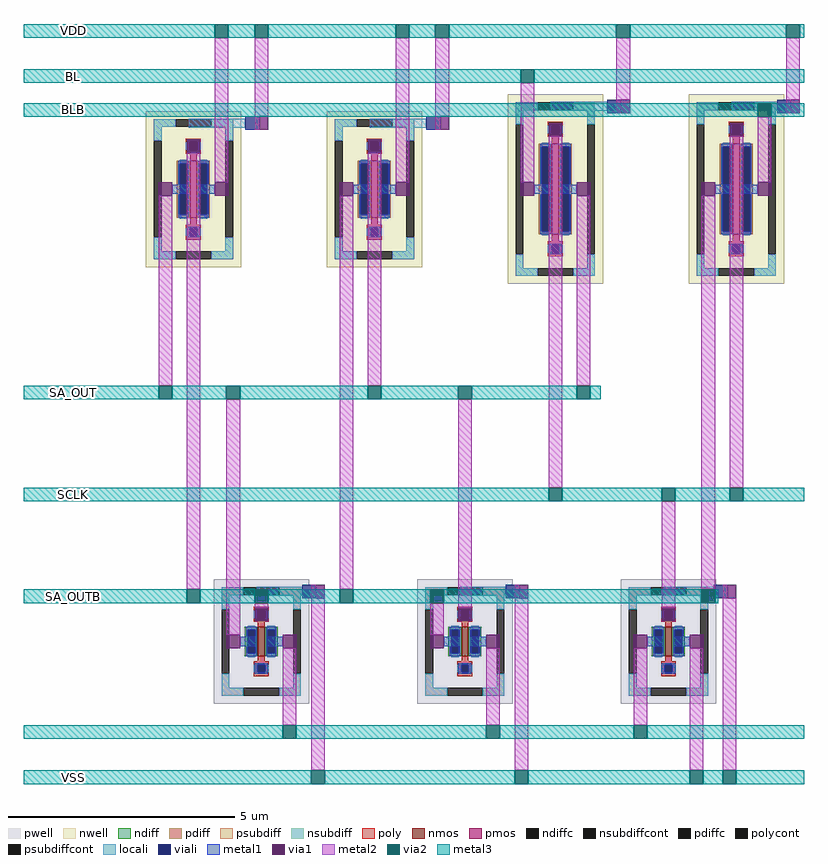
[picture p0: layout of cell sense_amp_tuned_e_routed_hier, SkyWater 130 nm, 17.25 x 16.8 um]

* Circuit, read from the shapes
.subckt sense_amp_tuned_e_routed_hier VDD VSS BL BLB SCLK SA_OUT SA_OUTB
XM1 n1 SA_OUTB SA_OUT VSS sky130_fd_pr__nfet_01v8 w=0.65 l=0.15
XM2 n1 SA_OUT SA_OUTB VSS sky130_fd_pr__nfet_01v8 w=0.65 l=0.15
XM3 VSS SCLK n1 VSS sky130_fd_pr__nfet_01v8 w=0.65 l=0.15
XM4 VDD SA_OUTB SA_OUT VDD sky130_fd_pr__pfet_01v8 w=1.26 l=0.15
XM5 VDD SA_OUT SA_OUTB VDD sky130_fd_pr__pfet_01v8 w=1.26 l=0.15
XM6 SA_OUT SCLK BL VDD sky130_fd_pr__pfet_01v8 w=2 l=0.15
XM7 BLB SCLK SA_OUTB VDD sky130_fd_pr__pfet_01v8 w=2 l=0.15
.ends

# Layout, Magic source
magic
tech sky130A
magscale 1 2
<< locali >>
rect 1880 -654 2130 -614
rect 2680 -654 2880 -614
rect 280 -728 530 -688
rect 1080 -728 1330 -688
rect 580 -2798 780 -2758
rect 1480 -2798 1680 -2758
rect 2380 -2798 2600 -2758
<< viali >>
rect 2130 -664 2190 -604
rect 2880 -664 2940 -604
rect 530 -738 590 -678
rect 1330 -738 1390 -678
rect 780 -2808 840 -2748
rect 1680 -2808 1740 -2748
rect 2600 -2808 2660 -2748
<< metal1 >>
rect 206 -1020 276 -980
rect 324 -1020 394 -980
rect 1006 -1020 1076 -980
rect 1124 -1020 1194 -980
rect 1806 -1020 1876 -980
rect 1924 -1020 1994 -980
rect 2606 -1020 2676 -980
rect 2724 -1020 2794 -980
rect 506 -3020 576 -2980
rect 624 -3020 694 -2980
rect 1406 -3020 1476 -2980
rect 1524 -3020 1594 -2980
rect 2306 -3020 2376 -2980
rect 2424 -3020 2494 -2980
<< via1 >>
rect 2190 -664 2230 -604
rect 2940 -664 2980 -604
rect 590 -738 630 -678
rect 1390 -738 1430 -678
rect 1870 -766 1930 -706
rect 2670 -766 2730 -706
rect 270 -840 330 -780
rect 1070 -840 1130 -780
rect 146 -1030 206 -970
rect 394 -1030 454 -970
rect 946 -1030 1006 -970
rect 1194 -1030 1254 -970
rect 1746 -1030 1806 -970
rect 1994 -1030 2054 -970
rect 2546 -1030 2606 -970
rect 2794 -1030 2854 -970
rect 840 -2808 880 -2748
rect 1740 -2808 1780 -2748
rect 2660 -2808 2700 -2748
rect 570 -2910 630 -2850
rect 1470 -2910 1530 -2850
rect 2370 -2910 2430 -2850
rect 446 -3030 506 -2970
rect 694 -3030 754 -2970
rect 1346 -3030 1406 -2970
rect 1594 -3030 1654 -2970
rect 2246 -3030 2306 -2970
rect 2494 -3030 2554 -2970
<< metal2 >>
rect 146 -1870 206 -1030
rect 270 -2770 330 -840
rect 394 -970 454 -330
rect 570 -678 630 -330
rect 570 -738 590 -678
rect 446 -2970 506 -1930
rect 570 -2850 630 -2830
rect 820 -2808 840 -2748
rect 694 -3370 754 -3030
rect 820 -3570 880 -2808
rect 946 -2770 1006 -1030
rect 1070 -1870 1130 -840
rect 1194 -970 1254 -330
rect 1370 -678 1430 -330
rect 1370 -738 1390 -678
rect 1746 -970 1806 -530
rect 2170 -604 2230 -330
rect 2170 -664 2190 -604
rect 2920 -604 2980 -330
rect 2920 -664 2940 -604
rect 1346 -2970 1406 -2830
rect 1470 -2850 1530 -1930
rect 1870 -2320 1930 -766
rect 1994 -1870 2054 -1030
rect 1720 -2808 1740 -2748
rect 1594 -3370 1654 -3030
rect 1720 -3570 1780 -2808
rect 2370 -2850 2430 -2380
rect 2546 -2770 2606 -1030
rect 2670 -2320 2730 -766
rect 2794 -970 2854 -680
rect 2640 -2808 2660 -2748
rect 2246 -3370 2306 -3030
rect 2494 -3570 2554 -3030
rect 2640 -3570 2700 -2808
<< via2 >>
rect 394 -330 454 -270
rect 146 -1930 206 -1870
rect 570 -330 630 -270
rect 1194 -330 1254 -270
rect 270 -2830 330 -2770
rect 446 -1930 506 -1870
rect 570 -2830 630 -2770
rect 694 -3430 754 -3370
rect 1370 -330 1430 -270
rect 2170 -330 2230 -270
rect 1746 -530 1806 -470
rect 2920 -330 2980 -270
rect 2794 -680 2854 -620
rect 1070 -1930 1130 -1870
rect 1470 -1930 1530 -1870
rect 946 -2830 1006 -2770
rect 1346 -2830 1406 -2770
rect 1994 -1930 2054 -1870
rect 1870 -2380 1930 -2320
rect 2370 -2380 2430 -2320
rect 1594 -3430 1654 -3370
rect 820 -3630 880 -3570
rect 2670 -2380 2730 -2320
rect 2546 -2830 2606 -2770
rect 2246 -3430 2306 -3370
rect 1720 -3630 1780 -3570
rect 2494 -3630 2554 -3570
rect 2640 -3630 2700 -3570
<< metal3 >>
rect -450 -330 394 -270
rect 454 -330 570 -270
rect 630 -330 1194 -270
rect 1254 -330 1370 -270
rect 1430 -330 2170 -270
rect 2230 -330 2920 -270
rect 2980 -330 3000 -270
rect -450 -530 1746 -470
rect 1806 -530 3000 -470
rect -450 -680 2794 -620
rect 2854 -680 3000 -620
rect -450 -1930 146 -1870
rect 206 -1930 446 -1870
rect 506 -1930 1070 -1870
rect 1130 -1930 1470 -1870
rect 1530 -1930 1994 -1870
rect 2054 -1930 2100 -1870
rect -450 -2380 1870 -2320
rect 1930 -2380 2370 -2320
rect 2430 -2380 2670 -2320
rect 2730 -2380 3000 -2320
rect -450 -2830 270 -2770
rect 330 -2830 570 -2770
rect 630 -2830 946 -2770
rect 1006 -2830 1346 -2770
rect 1406 -2830 2546 -2770
rect 2606 -2830 2620 -2770
rect -450 -3430 694 -3370
rect 754 -3430 1594 -3370
rect 1654 -3430 2246 -3370
rect 2306 -3430 3000 -3370
rect -450 -3630 820 -3570
rect 880 -3630 1720 -3570
rect 1780 -3630 2494 -3570
rect 2554 -3630 2640 -3570
rect 2700 -3630 3000 -3570
use sky130_fd_pr__nfet_01v8_AWWAPL  XMN1
transform 1 0 600 0 1 -3000
box -211 -275 211 275
use sky130_fd_pr__nfet_01v8_AWWAPL  XMN2
transform 1 0 1500 0 1 -3000
box -211 -275 211 275
use sky130_fd_pr__pfet_01v8_2NH2L2  XMP1
transform 1 0 300 0 1 -1000
box -211 -345 211 345
use sky130_fd_pr__pfet_01v8_2NH2L2  XMP2
transform 1 0 1100 0 1 -1000
box -211 -345 211 345
use sky130_fd_pr__pfet_01v8_XLV5ZZ  XMSAMPBL
transform 1 0 1900 0 1 -1000
box -211 -419 211 419
use sky130_fd_pr__pfet_01v8_XLV5ZZ  XMSAMPBLB
transform 1 0 2700 0 1 -1000
box -211 -419 211 419
use sky130_fd_pr__nfet_01v8_AWWAPL  XMTAIL
transform 1 0 2400 0 1 -3000
box -211 -275 211 275
<< labels >>
rlabel metal3 -255 -325 -205 -275 0 VDD
port 0 n
rlabel metal3 -255 -3625 -205 -3575 0 VSS
port 1 n
rlabel metal3 -255 -525 -205 -475 0 BL
port 2 n
rlabel metal3 -255 -675 -205 -625 0 BLB
port 3 n
rlabel metal3 -255 -2375 -205 -2325 0 SCLK
port 4 n
rlabel metal3 -255 -1925 -205 -1875 0 SA_OUT
port 5 n
rlabel metal3 -255 -2825 -205 -2775 0 SA_OUTB
port 6 n
<< end >>

# cell sky130_fd_pr__nfet_01v8_AWWAPL: kit device sky130_fd_pr__nfet_01v8, w 0.65 l 0.15 m 1 nf 1 diffcov 100 polycov 100 guard 1 glc 1 grc 1 gtc 1 gbc 1 tbcov 100 rlcov 100 topc 1 botc 1 poverlap 0 doverlap 1 lmin 0.15 wmin 0.42 class mosfet compatible {sky130_fd_pr__nfet_01v8 sky130_fd_pr__nfet_01v8_lvt sky130_fd_bs_flash__special_sonosfet_star sky130_fd_pr__nfet_g5v0d10v5 sky130_fd_pr__nfet_05v0_nvt sky130_fd_pr__nfet_03v3_nvt} full_metal 1 viasrc 100 viadrn 100 viagate 100 viagb 0 viagr 0 viagl 0 viagt 0

# cell sky130_fd_pr__pfet_01v8_2NH2L2: kit device sky130_fd_pr__pfet_01v8, w 1.26 l 0.15 m 1 nf 1 diffcov 100 polycov 100 guard 1 glc 1 grc 1 gtc 1 gbc 1 tbcov 100 rlcov 100 topc 1 botc 1 poverlap 0 doverlap 1 lmin 0.15 wmin 0.42 class mosfet compatible {sky130_fd_pr__pfet_01v8 sky130_fd_pr__pfet_01v8_lvt sky130_fd_pr__pfet_01v8_hvt sky130_fd_pr__pfet_g5v0d10v5} full_metal 1 viasrc 100 viadrn 100 viagate 100 viagb 0 viagr 0 viagl 0 viagt 0

# cell sky130_fd_pr__pfet_01v8_XLV5ZZ: kit device sky130_fd_pr__pfet_01v8, w 2.0 l 0.15 m 1 nf 1 diffcov 100 polycov 100 guard 1 glc 1 grc 1 gtc 1 gbc 1 tbcov 100 rlcov 100 topc 1 botc 1 poverlap 0 doverlap 1 lmin 0.15 wmin 0.42 class mosfet compatible {sky130_fd_pr__pfet_01v8 sky130_fd_pr__pfet_01v8_lvt sky130_fd_pr__pfet_01v8_hvt sky130_fd_pr__pfet_g5v0d10v5} full_metal 1 viasrc 100 viadrn 100 viagate 100 viagb 0 viagr 0 viagl 0 viagt 0
